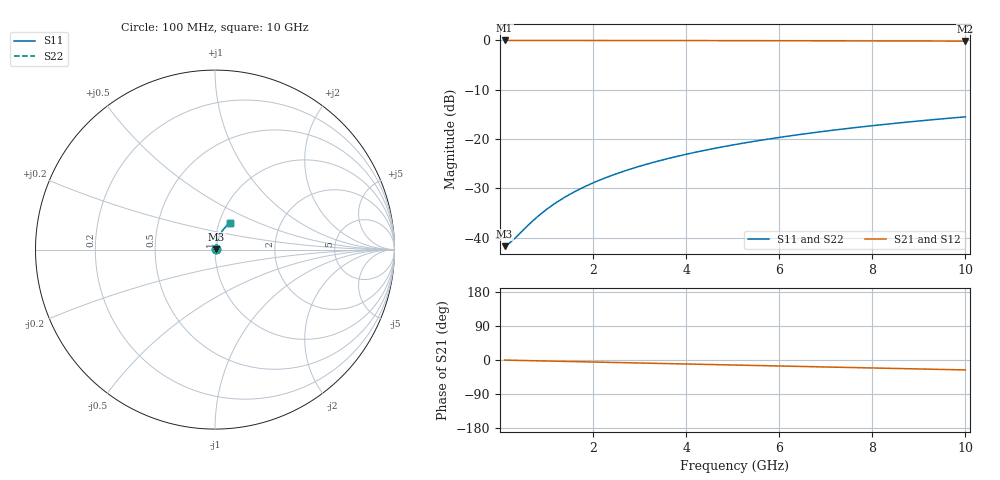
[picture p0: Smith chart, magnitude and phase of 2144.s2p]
# Hz S RI R 50.00
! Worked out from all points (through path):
!   100 points, 100 MHz to 10 GHz, reference 50 ohm
!   highest |S21| = -0.07 dB at 100 MHz (marker M1); lowest = -0.2 dB at 10 GHz (marker M2)
!   group delay of S21, straight-line fit = 7.29 ps
!   lowest |S11| = -41.7 dB at 100 MHz (marker M3), VSWR 1.02, Z = 50.8 + j0.174 ohm
!   |S11| at or under -10 dB: start of sweep to end of sweep
!   |S22| runs from -41.7 to -15.5 dB; largest |S21 - S12| = 0
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1e8  0.00804 0.00171  0.992 -0.00458  0.992 -0.00458  0.00804 0.00171
2e8  0.00811 0.00342  0.9919 -0.00915  0.9919 -0.00915  0.00811 0.00342
3e8  0.00819 0.00513  0.9918 -0.0137  0.9918 -0.0137  0.00819 0.00513
7e8  0.00861 0.012  0.9912 -0.032  0.9912 -0.032  0.00861 0.012
8e8  0.00874 0.0137  0.991 -0.0366  0.991 -0.0366  0.00874 0.0137
1e9  0.00906 0.0171  0.9905 -0.0457  0.9905 -0.0457  0.00906 0.0171
1.2e9  0.00944 0.0205  0.9899 -0.0549  0.9899 -0.0549  0.00944 0.0205
1.4e9  0.00987 0.0239  0.9893 -0.064  0.9893 -0.064  0.00987 0.0239
1.6e9  0.0104 0.0272  0.9885 -0.0731  0.9885 -0.0731  0.0104 0.0272
1.8e9  0.0109 0.0306  0.9877 -0.0822  0.9877 -0.0822  0.0109 0.0306
2.1e9  0.0119 0.0356  0.9862 -0.0958  0.9862 -0.0958  0.0119 0.0356
2.5e9  0.0134 0.0423  0.984 -0.1139  0.984 -0.1139  0.0134 0.0423
2.9e9  0.0151 0.0489  0.9814 -0.132  0.9814 -0.132  0.0151 0.0489
3.4e9  0.0176 0.0571  0.9776 -0.1545  0.9776 -0.1545  0.0176 0.0571
3.8e9  0.0198 0.0635  0.9741 -0.1723  0.9741 -0.1723  0.0198 0.0635
4.2e9  0.0223 0.0698  0.9703 -0.1901  0.9703 -0.1901  0.0223 0.0698
5.1e9  0.0287 0.0837  0.9604 -0.2297  0.9604 -0.2297  0.0287 0.0837
5.9e9  0.0354 0.0955  0.95 -0.2644  0.95 -0.2644  0.0354 0.0955
6.7e9  0.0429 0.1068  0.9383 -0.2985  0.9383 -0.2985  0.0429 0.1068
7.5e9  0.0511 0.1174  0.9253 -0.3319  0.9253 -0.3319  0.0511 0.1174
8.4e9  0.0613 0.1286  0.9091 -0.3687  0.9091 -0.3687  0.0613 0.1286
1e10  0.0814 0.1462  0.8766 -0.4317  0.8766 -0.4317  0.0814 0.1462
